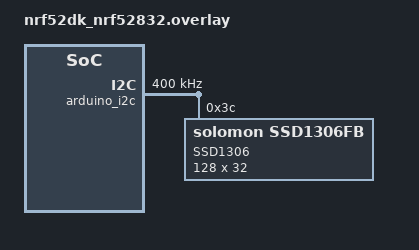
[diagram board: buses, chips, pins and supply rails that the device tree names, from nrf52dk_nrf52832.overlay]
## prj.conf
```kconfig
#
# Copyright (c) 2018 Nordic Semiconductor
#
# SPDX-License-Identifier: LicenseRef-Nordic-5-Clause
#
# Enable the I2C LCD driver
CONFIG_I2C=y
#CONFIG_I2C_0_NRF_TWI=y
CONFIG_I2C_NRFX=y

CONFIG_DISPLAY=y
CONFIG_DISPLAY_LOG_LEVEL_DBG=y
CONFIG_LOG_STRDUP_BUF_COUNT=16
CONFIG_SSD1306=y
CONFIG_SSD1306_DEFAULT_CONTRAST=128
CONFIG_SSD1306_DEFAULT=y


CONFIG_SSD1306_SH1106_COMPATIBLE=n
# CFB
CONFIG_CFB_LOG_LEVEL_DBG=y
CONFIG_CHARACTER_FRAMEBUFFER=y

# Enable the UART driver
CONFIG_UART_ASYNC_API=y
CONFIG_NRFX_UARTE0=y
CONFIG_SERIAL=y
CONFIG_CONSOLE=y
CONFIG_UART_CONSOLE=y

# Enable the BLE stack with GATT Client configuration
CONFIG_BT=y
CONFIG_BT_CENTRAL=y
CONFIG_BT_SMP=y
CONFIG_BT_GATT_CLIENT=y

# Enable the BLE modules from NCS
CONFIG_BT_NUS_CLIENT=y
CONFIG_BT_SCAN=y
CONFIG_BT_SCAN_FILTER_ENABLE=y
CONFIG_BT_SCAN_UUID_CNT=1
CONFIG_BT_GATT_DM=y
CONFIG_HEAP_MEM_POOL_SIZE=2048

# This example requires more workqueue stack
CONFIG_SYSTEM_WORKQUEUE_STACK_SIZE=2048

# Enable bonding
CONFIG_BT_SETTINGS=y
CONFIG_FLASH=y
CONFIG_FLASH_PAGE_LAYOUT=y
CONFIG_FLASH_MAP=y
CONFIG_NVS=y
CONFIG_SETTINGS=y

# Config logger
CONFIG_LOG=y
CONFIG_USE_SEGGER_RTT=y
CONFIG_LOG_BACKEND_RTT=y
CONFIG_LOG_BACKEND_UART=n

CONFIG_ASSERT=y
```

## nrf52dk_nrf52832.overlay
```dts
// To get started, press Ctrl+Space to bring up the completion menu and view the available nodes.
// For more help, browse the DeviceTree documentation at https://docs.zephyrproject.org/latest/guides/dts/index.html
&arduino_i2c {
	clock-frequency = <I2C_BITRATE_FAST>;

    ssd1306@3c {
        compatible = "solomon,ssd1306fb";
        reg = <0x3c>;
        label = "SSD1306";
        height = <32>;
        width  = <128>;
        segment-offset  = <0>;
        page-offset     = <0>;
        display-offset  = <0>;
        multiplex-ratio = <31>;
        prechargep      = <0xD1>;
        segment-remap;
        com-invdir;
        com-sequential;
    };
};
```

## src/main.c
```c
/*
 * Copyright (c) 2018 Nordic Semiconductor ASA
 *
 * SPDX-License-Identifier: LicenseRef-Nordic-5-Clause
 * https://github.com/foldedtoad/ssd1306_zephyr
 * https://github.com/zephyrproject-rtos/zephyr/issues/33589
 * https://devzone.nordicsemi.com/nordic/b/archives/posts/nrf-connect-sdk-tutorial---part-3-temporary#h56sk0f6zs6u1qqs6nj2hbrjty9raxu
 * https://developer.nordicsemi.com/nRF_Connect_SDK/doc/latest/nrf/samples/bluetooth/peripheral_uart/README.html
 */

/** @file
 *  @brief Nordic UART Service Client sample
 */

#include <errno.h>
#include <zephyr.h>
#include <sys/byteorder.h>
#include <sys/printk.h>

#include <bluetooth/bluetooth.h>
#include <bluetooth/hci.h>
#include <bluetooth/conn.h>
#include <bluetooth/uuid.h>
#include <bluetooth/gatt.h>

#include <bluetooth/services/nus.h>
#include <bluetooth/services/nus_client.h>
#include <bluetooth/gatt_dm.h>
#include <bluetooth/scan.h>

#include <settings/settings.h>

#include <drivers/uart.h>

#include <logging/log.h>
#include <device.h>
#include <drivers/display.h>
#include <display/cfb.h>
#include <stdio.h>
//#include "display.h"

#define LOG_MODULE_NAME central_uart
LOG_MODULE_REGISTER(LOG_MODULE_NAME);

/* UART payload buffer element size. */
#define UART_BUF_SIZE 20

#define KEY_PASSKEY_ACCEPT DK_BTN1_MSK
#define KEY_PASSKEY_REJECT DK_BTN2_MSK

#define NUS_WRITE_TIMEOUT K_MSEC(150)
#define UART_WAIT_FOR_BUF_DELAY K_MSEC(50)
#define UART_RX_TIMEOUT 50

static const struct device *uart;
static struct k_work_delayable uart_work;

K_SEM_DEFINE(nus_write_sem, 0, 1);

struct uart_data_t {
	void *fifo_reserved;
	uint8_t  data[UART_BUF_SIZE];
	uint16_t len;
};

static K_FIFO_DEFINE(fifo_uart_tx_data);
static K_FIFO_DEFINE(fifo_uart_rx_data);

static struct bt_conn *default_conn;
static struct bt_nus_client nus_client;

static void ble_data_sent(struct bt_nus_client *nus, uint8_t err,
					const uint8_t *const data, uint16_t len)
{
	ARG_UNUSED(nus);

	struct uart_data_t *buf;

	/* Retrieve buffer context. */
	buf = CONTAINER_OF(data, struct uart_data_t, data);
	k_free(buf);

	k_sem_give(&nus_write_sem);

	if (err) {
		LOG_WRN("ATT error code: 0x%02X", err);
	}
}

static uint8_t ble_data_received(struct bt_nus_client *nus,
						const uint8_t *data, uint16_t len)
{
	ARG_UNUSED(nus);

	int err;

	for (uint16_t pos = 0; pos != len;) {
		struct uart_data_t *tx = k_malloc(sizeof(*tx));

		if (!tx) {
			LOG_WRN("Not able to allocate UART send data buffer");
			return BT_GATT_ITER_CONTINUE;
		}

		/* Keep the last byte of TX buffer for potential LF char. */
		size_t tx_data_size = sizeof(tx->data) - 1;

		if ((len - pos) > tx_data_size) {
			tx->len = tx_data_size;
		} else {
			tx->len = (len - pos);
		}

		memcpy(tx->data, &data[pos], tx->len);

		pos += tx->len;

		/* Append the LF character when the CR character triggered
		 * transmission from the peer.
		 */
		if ((pos == len) && (data[len - 1] == '\r')) {
			tx->data[tx->len] = '\n';
			tx->len++;
		}

		err = uart_tx(uart, tx->data, tx->len, SYS_FOREVER_MS);
		if (err) {
			k_fifo_put(&fifo_uart_tx_data, tx);
		}
	}

	return BT_GATT_ITER_CONTINUE;
}

static void uart_cb(const struct device *dev, struct uart_event *evt, void *user_data)
{
	ARG_UNUSED(dev);

	static uint8_t *current_buf;
	static size_t aborted_len;
	static bool buf_release;
	struct uart_data_t *buf;
	static uint8_t *aborted_buf;

	switch (evt->type) {
	case UART_TX_DONE:
		if ((evt->data.tx.len == 0) ||
		    (!evt->data.tx.buf)) {
			return;
		}

		if (aborted_buf) {
			buf = CONTAINER_OF(aborted_buf, struct uart_data_t,
					   data);
			aborted_buf = NULL;
			aborted_len = 0;
		} else {
			buf = CONTAINER_OF(evt->data.tx.buf,
					   struct uart_data_t,
					   data);
		}

		k_free(buf);

		buf = k_fifo_get(&fifo_uart_tx_data, K_NO_WAIT);
		if (!buf) {
			return;
		}

		if (uart_tx(uart, buf->data, buf->len, SYS_FOREVER_MS)) {
			LOG_WRN("Failed to send data over UART");
		}

		break;

	case UART_RX_RDY:
		buf = CONTAINER_OF(evt->data.rx.buf, struct uart_data_t, data);
		buf->len += evt->data.rx.len;
		buf_release = false;

		if (buf->len == UART_BUF_SIZE) {
			k_fifo_put(&fifo_uart_rx_data, buf);
		} else if ((evt->data.rx.buf[buf->len - 1] == '\n') ||
			  (evt->data.rx.buf[buf->len - 1] == '\r')) {
			k_fifo_put(&fifo_uart_rx_data, buf);
			current_buf = evt->data.rx.buf;
			buf_release = true;
			uart_rx_disable(uart);
		}

		break;

	case UART_RX_DISABLED:
		buf = k_malloc(sizeof(*buf));
		if (buf) {
			buf->len = 0;
		} else {
			LOG_WRN("Not able to allocate UART receive buffer");
			k_work_reschedule(&uart_work, UART_WAIT_FOR_BUF_DELAY);
			return;
		}

		uart_rx_enable(uart, buf->data, sizeof(buf->data),
			       UART_RX_TIMEOUT);

		break;

	case UART_RX_BUF_REQUEST:
		buf = k_malloc(sizeof(*buf));
		if (buf) {
			buf->len = 0;
			uart_rx_buf_rsp(uart, buf->data, sizeof(buf->data));
		} else {
			LOG_WRN("Not able to allocate UART receive buffer");
		}

		break;

	case UART_RX_BUF_RELEASED:
		buf = CONTAINER_OF(evt->data.rx_buf.buf, struct uart_data_t,
				   data);
		if (buf_release && (current_buf != evt->data.rx_buf.buf)) {
			k_free(buf);
			buf_release = false;
			current_buf = NULL;
		}

		break;

	case UART_TX_ABORTED:
			if (!aborted_buf) {
				aborted_buf = (uint8_t *)evt->data.tx.buf;
			}

			aborted_len += evt->data.tx.len;
			buf = CONTAINER_OF(aborted_buf, struct uart_data_t,
					   data);

			uart_tx(uart, &buf->data[aborted_len],
				buf->len - aborted_len, SYS_FOREVER_MS);

		break;

	default:
		break;
	}
}

static void uart_work_handler(struct k_work *item)
{
	struct uart_data_t *buf;

	buf = k_malloc(sizeof(*buf));
	if (buf) {
		buf->len = 0;
	} else {
		LOG_WRN("Not able to allocate UART receive buffer");
		k_work_reschedule(&uart_work, UART_WAIT_FOR_BUF_DELAY);
		return;
	}

	uart_rx_enable(uart, buf->data, sizeof(buf->data), UART_RX_TIMEOUT);
}

static int uart_init(void)
{
	int err;
	struct uart_data_t *rx;

	uart = device_get_binding(DT_LABEL(DT_NODELABEL(uart0)));
	if (!uart) {
		LOG_ERR("UART binding failed");
		return -ENXIO;
	}

	rx = k_malloc(sizeof(*rx));
	if (rx) {
		rx->len = 0;
	} else {
		return -ENOMEM;
	}

	k_work_init_delayable(&uart_work, uart_work_handler);

	err = uart_callback_set(uart, uart_cb, NULL);
	if (err) {
		return err;
	}

	return uart_rx_enable(uart, rx->data, sizeof(rx->data),
			      UART_RX_TIMEOUT);
}

static void discovery_complete(struct bt_gatt_dm *dm,
			       void *context)
{
	struct bt_nus_client *nus = context;
	LOG_INF("Service discovery completed");

	bt_gatt_dm_data_print(dm);

	bt_nus_handles_assign(dm, nus);
	bt_nus_subscribe_receive(nus);

	bt_gatt_dm_data_release(dm);
}

static void discovery_service_not_found(struct bt_conn *conn,
					void *context)
{
	LOG_INF("Service not found");
}

static void discovery_error(struct bt_conn *conn,
			    int err,
			    void *context)
{
	LOG_WRN("Error while discovering GATT database: (%d)", err);
}

struct bt_gatt_dm_cb discovery_cb = {
	.completed         = discovery_complete,
	.service_not_found = discovery_service_not_found,
	.error_found       = discovery_error,
};

static void gatt_discover(struct bt_conn *conn)
{
	int err;

	if (conn != default_conn) {
		return;
	}

	err = bt_gatt_dm_start(conn,
			       BT_UUID_NUS_SERVICE,
			       &discovery_cb,
			       &nus_client);
	if (err) {
		LOG_ERR("could not start the discovery procedure, error "
			"code: %d", err);
	}
}

static void exchange_func(struct bt_conn *conn, uint8_t err, struct bt_gatt_exchange_params *params)
{
	if (!err) {
		LOG_INF("MTU exchange done");
	} else {
		LOG_WRN("MTU exchange failed (err %" PRIu8 ")", err);
	}
}

static void connected(struct bt_conn *conn, uint8_t conn_err)
{
	char addr[BT_ADDR_LE_STR_LEN];
	int err;

	bt_addr_le_to_str(bt_conn_get_dst(conn), addr, sizeof(addr));

	if (conn_err) {
		LOG_INF("Failed to connect to %s (%d)", log_strdup(addr),
			conn_err);

		if (default_conn == conn) {
			bt_conn_unref(default_conn);
			default_conn = NULL;

			err = bt_scan_start(BT_SCAN_TYPE_SCAN_ACTIVE);
			if (err) {
				LOG_ERR("Scanning failed to start (err %d)",
					err);
			}
		}

		return;
	}

	LOG_INF("Connected: %s", log_strdup(addr));

	static struct bt_gatt_exchange_params exchange_params;

	exchange_params.func = exchange_func;
	err = bt_gatt_exchange_mtu(conn, &exchange_params);
	if (err) {
		LOG_WRN("MTU exchange failed (err %d)", err);
	}

	err = bt_conn_set_security(conn, BT_SECURITY_L2);
	if (err) {
		LOG_WRN("Failed to set security: %d", err);

		gatt_discover(conn);
	}

	err = bt_scan_stop();
	if ((!err) && (err != -EALREADY)) {
		LOG_ERR("Stop LE scan failed (err %d)", err);
	}
}

static void disconnected(struct bt_conn *conn, uint8_t reason)
{
	char addr[BT_ADDR_LE_STR_LEN];
	int err;

	bt_addr_le_to_str(bt_conn_get_dst(conn), addr, sizeof(addr));

	LOG_INF("Disconnected: %s (reason %u)", log_strdup(addr),
		reason);

	if (default_conn != conn) {
		return;
	}

	bt_conn_unref(default_conn);
	default_conn = NULL;

	err = bt_scan_start(BT_SCAN_TYPE_SCAN_ACTIVE);
	if (err) {
		LOG_ERR("Scanning failed to start (err %d)",
			err);
	}
}

static void security_changed(struct bt_conn *conn, bt_security_t level,
			     enum bt_security_err err)
{
	char addr[BT_ADDR_LE_STR_LEN];

	bt_addr_le_to_str(bt_conn_get_dst(conn), addr, sizeof(addr));

	if (!err) {
		LOG_INF("Security changed: %s level %u", log_strdup(addr),
			level);
	} else {
		LOG_WRN("Security failed: %s level %u err %d", log_strdup(addr),
			level, err);
	}

	gatt_discover(conn);
}

BT_CONN_CB_DEFINE(conn_callbacks) = {
	.connected = connected,
	.disconnected = disconnected,
	.security_changed = security_changed
};

static void scan_filter_match(struct bt_scan_device_info *device_info,
			      struct bt_scan_filter_match *filter_match,
			      bool connectable)
{
	char addr[BT_ADDR_LE_STR_LEN];

	bt_addr_le_to_str(device_info->recv_info->addr, addr, sizeof(addr));

	LOG_INF("Filters matched. Address: %s connectable: %d",
		log_strdup(addr), connectable);
}

static void scan_connecting_error(struct bt_scan_device_info *device_info)
{
	LOG_WRN("Connecting failed");
}

static void scan_connecting(struct bt_scan_device_info *device_info,
			    struct bt_conn *conn)
{
	default_conn = bt_conn_ref(conn);
}

static int nus_client_init(void)
{
	int err;
	struct bt_nus_client_init_param init = {
		.cb = {
			.received = ble_data_received,
			.sent = ble_data_sent,
		}
	};

	err = bt_nus_client_init(&nus_client, &init);
	if (err) {
		LOG_ERR("NUS Client initialization failed (err %d)", err);
		return err;
	}

	LOG_INF("NUS Client module initialized");
	return err;
}

BT_SCAN_CB_INIT(scan_cb, scan_filter_match, NULL,
		scan_connecting_error, scan_connecting);

static int scan_init(void)
{
	int err;
	struct bt_scan_init_param scan_init = {
		.connect_if_match = 1,
	};

	bt_scan_init(&scan_init);
	bt_scan_cb_register(&scan_cb);

	err = bt_scan_filter_add(BT_SCAN_FILTER_TYPE_UUID, BT_UUID_NUS_SERVICE);
	if (err) {
		LOG_ERR("Scanning filters cannot be set (err %d)", err);
		return err;
	}

	err = bt_scan_filter_enable(BT_SCAN_UUID_FILTER, false);
	if (err) {
		LOG_ERR("Filters cannot be turned on (err %d)", err);
		return err;
	}

	LOG_INF("Scan module initialized");
	return err;
}


static void auth_cancel(struct bt_conn *conn)
{
	char addr[BT_ADDR_LE_STR_LEN];

	bt_addr_le_to_str(bt_conn_get_dst(conn), addr, sizeof(addr));

	LOG_INF("Pairing cancelled: %s", log_strdup(addr));
}


static void pairing_complete(struct bt_conn *conn, bool bonded)
{
	char addr[BT_ADDR_LE_STR_LEN];

	bt_addr_le_to_str(bt_conn_get_dst(conn), addr, sizeof(addr));

	LOG_INF("Pairing completed: %s, bonded: %d", log_strdup(addr),
		bonded);
}


static void pairing_failed(struct bt_conn *conn, enum bt_security_err reason)
{
	char addr[BT_ADDR_LE_STR_LEN];

	bt_addr_le_to_str(bt_conn_get_dst(conn), addr, sizeof(addr));

	LOG_WRN("Pairing failed conn: %s, reason %d", log_strdup(addr),
		reason);
}

static struct bt_conn_auth_cb conn_auth_callbacks = {
	.cancel = auth_cancel,
	.pairing_complete = pairing_complete,
	.pairing_failed = pairing_failed
};

void main(void)
{
	int err;
	struct device *dev;
    uint16_t rows;
    uint8_t ppt;
    uint8_t font_width;
    uint8_t font_height;
    uint16_t display_height;

    dev = device_get_binding("SSD1306");
    if (dev == NULL) {
        printk("Device not found\n");
        return;
    }
    if (display_set_pixel_format(dev, PIXEL_FORMAT_MONO10) != 0) {
        printk("Failed to set required pixel format\n");
        return;
    }
	printk("initialized %s\n", "SSD1306");

    if (cfb_framebuffer_init(dev)) {
        printk("Framebuffer initialization failed!\n");
        return;
    }

    cfb_framebuffer_clear(dev, true);
    cfb_framebuffer_invert(dev);
    display_blanking_off(dev);
	rows = cfb_get_display_parameter(dev, CFB_DISPLAY_ROWS);
    ppt = cfb_get_display_parameter(dev, CFB_DISPLAY_PPT);

    for (int idx = 0; idx < 1; idx++) {
        if (cfb_get_font_size(dev, idx, &font_width, &font_height)) {
            break;
        }
        cfb_framebuffer_set_font(dev, idx);
        printk("font width %d, font height %d\n",
               font_width, font_height);
    }
    display_height = cfb_get_display_parameter(dev, CFB_DISPLAY_HEIGH);
    printk("x_res %d, y_res %d, ppt %d, rows %d, cols %d\n",
           cfb_get_display_parameter(dev, CFB_DISPLAY_WIDTH),
           display_height,
           ppt,
           rows,
           cfb_get_display_parameter(dev, CFB_DISPLAY_COLS));

    char tmpstr[20];

	err = bt_conn_auth_cb_register(&conn_auth_callbacks);
	if (err) {
		LOG_ERR("Failed to register authorization callbacks.");
		return;
	}

	err = bt_enable(NULL);
	if (err) {
		LOG_ERR("Bluetooth init failed (err %d)", err);
		return;
	}
	LOG_INF("Bluetooth initialized");

	if (IS_ENABLED(CONFIG_SETTINGS)) {
		settings_load();
	}

	int (*module_init[])(void) = {uart_init, scan_init, nus_client_init};
	for (size_t i = 0; i < ARRAY_SIZE(module_init); i++) {
		err = (*module_init[i])();
		if (err) {
			return;
		}
	}

	printk("Starting Bluetooth Central UART example\n");


	err = bt_scan_start(BT_SCAN_TYPE_SCAN_ACTIVE);
	if (err) {
		LOG_ERR("Scanning failed to start (err %d)", err);
		return;
	}

	LOG_INF("Scanning successfully started");

	for (;;) {
		// Wait indefinitely for data to be sent over Bluetooth 
		struct uart_data_t *buf = k_fifo_get(&fifo_uart_rx_data,
						     K_FOREVER);

		err = bt_nus_client_send(&nus_client, buf->data, buf->len);
		memcpy(tmpstr, buf->data, 20);
		cfb_framebuffer_clear(dev, false);
        //sprintf(tmpstr, "%d", tick++);
		 for (int i = 0; i < (display_height / font_height); i++) {
            if (cfb_print(dev,
                          tmpstr,
                          0, i * font_height)) {
                printk("Failed to print a string\n");
                continue;
            }
        }
        cfb_framebuffer_finalize(dev);
        //k_sleep(K_MSEC(1000));
		if (err) {
			LOG_WRN("Failed to send data over BLE connection"
				"(err %d)", err);
		}

		err = k_sem_take(&nus_write_sem, NUS_WRITE_TIMEOUT);
		if (err) {
			LOG_WRN("NUS send timeout");
		}
	}
}
```
